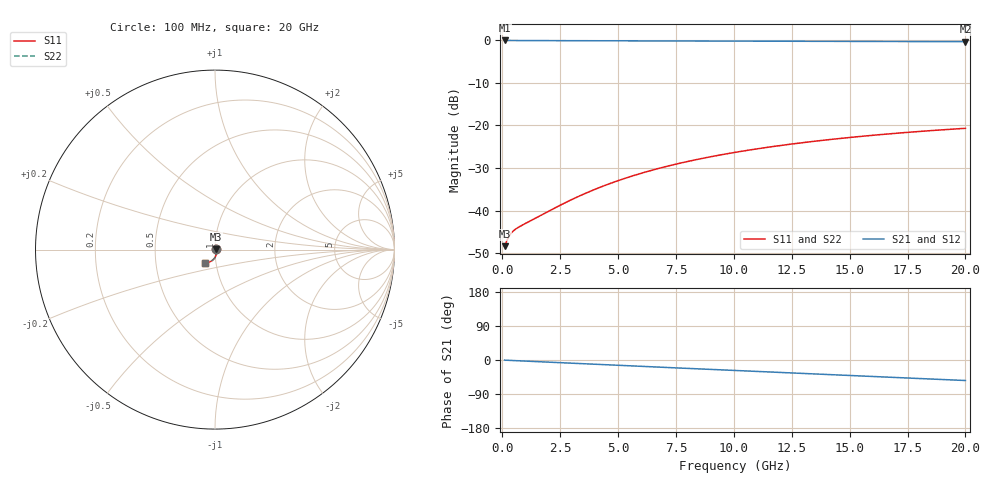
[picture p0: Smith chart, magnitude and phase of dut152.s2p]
! Touchstone file exported from HFSS 2026.1.0
!  File:  C:/ffzhzh/LocalFiles/Ansys_Project_Files/temp_train_TMRDL_152_1782983164_40604.aedt
!  Generated:  05:07:33 PM Jul  2, 2026
!  Design:  TMRDL
!  Project:  temp_train_TMRDL_152_1782983164_40604
! Variables:
!  h_bsmrdl = 2um
!  h_ox = 20um
!  h_rdl = 5um
!  h_sub = 80um
!  h_tmrdl = 4.39um
!  h_tsv = 80um
!  h_via = 3um
!  l_bsmrdl = 300um
!  l_sub = 1373.54um
!  l_tmrdl = 973.54um
!  m_sub = 200um
!  pitch = 26.8um
!  r_tsv = 6um
!  s_tmrdl = 10um
!  w_bsmrdl = 18um
!  w_sub = 500um
!  w_tmrdl = 23.26um
!  x_tsv_center1 = 985.17um
!  x_tsv_center2 = 1303.17um
!  x_tsv_center3 = 2299.97um
!  x_tsv_center4 = 2617.97um
!  x_tsv_center5 = 3614.77um
!  x_tsv_center6 = 3932.77um
# GHz S MA R 50.000000
! Terminal data exported
! Port[1] = TM_RDL1_1_T1
! Port[2] = TM_RDL1_1_T2
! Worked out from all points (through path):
!   200 points, 100 MHz to 20 GHz, reference 50 ohm
!   highest |S21| = -0.03 dB at 100 MHz (marker M1); lowest = -0.3 dB at 20 GHz (marker M2)
!   group delay of S21, straight-line fit = 7.48 ps
!   lowest |S11| = -48.4 dB at 100 MHz (marker M3), VSWR 1.01, Z = 50.4 + j0.0602 ohm
!   |S11| at or under -10 dB: start of sweep to end of sweep
!   |S22| runs from -48.4 to -20.7 dB; largest |S21 - S12| = 6e-15
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0.1  0.003809 9.0  0.9962 -0.3  0.9962 -0.3  0.003809 9.0
! Gamma 0 0 0 0
! Port Impedance 50 0 50 0
0.2  0.004463 10.5  0.9956 -0.7  0.9956 -0.7  0.004463 10.5
0.3  0.005049 7.4  0.995 -0.9  0.995 -0.9  0.005049 7.4
0.4  0.005493 3.0  0.9945 -1.2  0.9945 -1.2  0.005493 3.0
0.5  0.005834 -1.5  0.9942 -1.5  0.9942 -1.5  0.005833 -1.5
0.6  0.006112 -5.7  0.9939 -1.8  0.9939 -1.8  0.006111 -5.7
0.9  0.006817 -16.5  0.9934 -2.6  0.9934 -2.6  0.006815 -16.5
2.4  0.01117 -46.8  0.9914 -6.8  0.9914 -6.8  0.01117 -46.9
3  0.01345 -53.6  0.9904 -8.5  0.9904 -8.5  0.01344 -53.6
3.5  0.01552 -58.1  0.9895 -9.9  0.9895 -9.9  0.01551 -58.2
4.3  0.0191 -64.2  0.9881 -12.1  0.9881 -12.1  0.01908 -64.3
5.1  0.02291 -69.4  0.9866 -14.3  0.9866 -14.3  0.02288 -69.5
5.9  0.02688 -74.0  0.9851 -16.5  0.9851 -16.5  0.02685 -74.1
6.8  0.03147 -78.7  0.9835 -18.9  0.9835 -18.9  0.03143 -78.9
7.6  0.03559 -82.6  0.9821 -21.1  0.9821 -21.1  0.03555 -82.8
8.4  0.03974 -86.3  0.9808 -23.2  0.9808 -23.2  0.03969 -86.5
10.1  0.04847 -93.5  0.9782 -27.8  0.9782 -27.8  0.04841 -93.7
11.7  0.05651 -99.7  0.9758 -32.1  0.9758 -32.1  0.05643 -99.9
13.4  0.06474 -105.8  0.9734 -36.6  0.9734 -36.6  0.06465 -106.1
15  0.07213 -111.3  0.9711 -40.9  0.9711 -40.9  0.07203 -111.7
16.7  0.07955 -116.9  0.9688 -45.4  0.9688 -45.4  0.07943 -117.3
20  0.09247 -127.2  0.9643 -54.1  0.9643 -54.1  0.09233 -127.7
